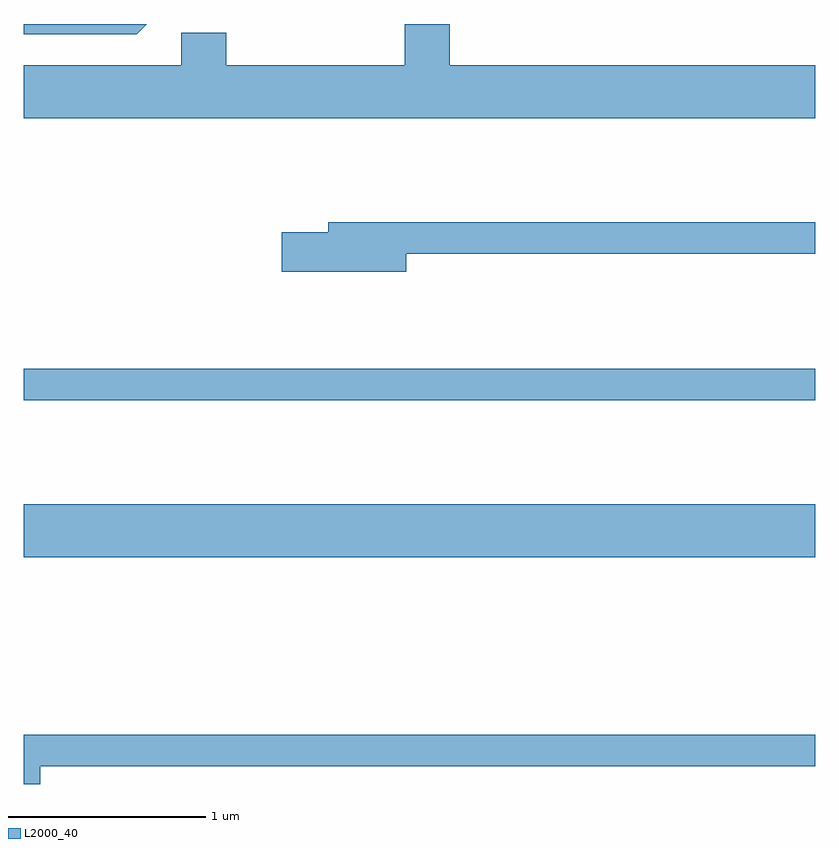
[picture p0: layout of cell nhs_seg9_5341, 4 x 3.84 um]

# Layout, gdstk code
import gdstk
lib = gdstk.Library(unit=1e-6, precision=1e-09)
def R(c, l, rs):  # rectangles x0, y0, x1, y1
    for r in rs: c.add(gdstk.rectangle(r[:2], r[2:], *l))
def P(c, l, *ps):  # polygons
    for p in ps: c.add(gdstk.Polygon(p, *l))
L2000_40 = (2000, 40)

nhs_seg9_5341 = lib.new_cell('nhs_seg9_5341')
R(nhs_seg9_5341, L2000_40, [(341.611,2071.736,345.611,2072.004), (341.611,2072.531,345.611,2072.689)])
P(nhs_seg9_5341, L2000_40, [(345.611,2074.224),(343.764,2074.224),(343.764,2074.432),(343.536,2074.432),(343.536,2074.224),(342.634,2074.224),(342.634,2074.389),(342.406,2074.389),(342.406,2074.224),(341.611,2074.224),(341.611,2073.956),(345.611,2073.956)],
  [(342.233,2074.432),(341.611,2074.432),(341.611,2074.381),(342.182,2074.381)],
  [(343.544,2073.271),(345.611,2073.271),(345.611,2073.429),(343.151,2073.429),(343.151,2073.379),(342.916,2073.379),(342.916,2073.181),(343.544,2073.181)],
  [(341.694,2070.681),(345.611,2070.681),(345.611,2070.839),(341.611,2070.839),(341.611,2070.591),(341.694,2070.591)])

lib.write_gds('nhs_seg9_5341.gds')
